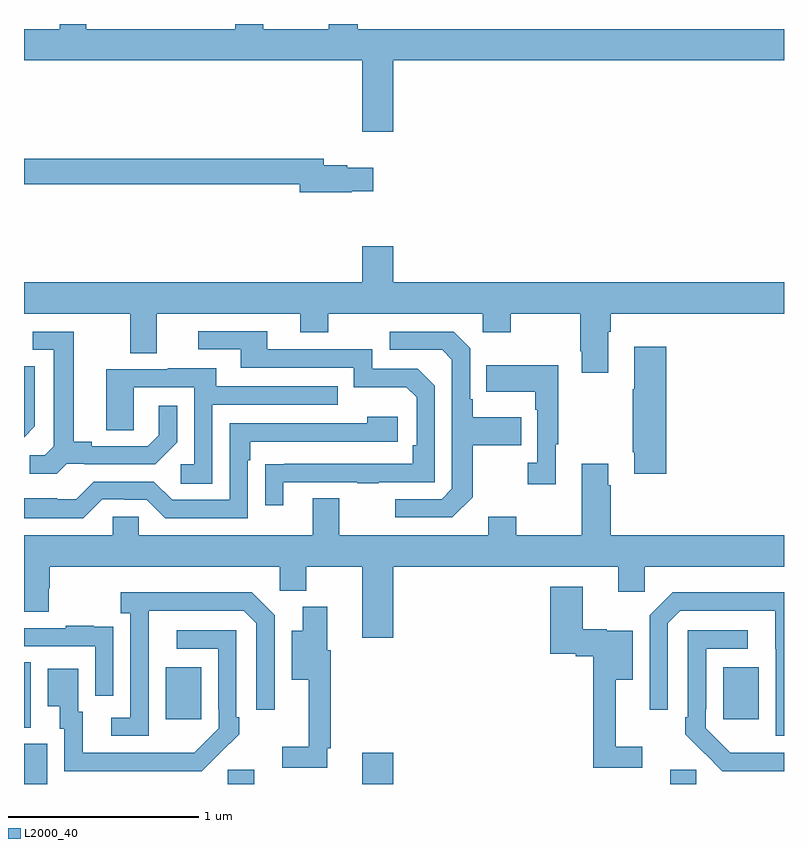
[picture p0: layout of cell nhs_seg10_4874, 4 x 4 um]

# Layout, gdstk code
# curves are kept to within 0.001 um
import gdstk
lib = gdstk.Library(unit=1e-6, precision=1e-09)
def R(c, l, rs):  # rectangles x0, y0, x1, y1
    for r in rs: c.add(gdstk.rectangle(r[:2], r[2:], *l))
def P(c, l, *ps):  # polygons
    for p in ps: c.add(gdstk.Polygon(p, *l))
L2000_40 = (2000, 40)

nhs_seg10_4874 = lib.new_cell('nhs_seg10_4874')
R(nhs_seg10_4874, L2000_40, [(391,1304.5,391.123,1304.712), (392.073,1304.5,392.212,1304.574), (392.78,1304.5,392.944,1304.665), (394.4,1304.5,394.539,1304.574), (391,1304.797,391.036,1305.14), (391.745,1304.841,391.933,1305.115), (394.679,1304.841,394.867,1305.115)])
P(nhs_seg10_4874, L2000_40, [(392.944,1308.308),(395,1308.308),(395,1308.472),(392.756,1308.472),(392.756,1308.5),(392.603,1308.5),(392.603,1308.472),(392.259,1308.472),(392.259,1308.5),(392.111,1308.5),(392.111,1308.472),(391.327,1308.472),(391.327,1308.5),(391.187,1308.5),(391.187,1308.472),(391,1308.472),(391,1308.308),(392.78,1308.308),(392.78,1307.934),(392.944,1307.934)],
  [(392.726,1307.621),(392.839,1307.621),(392.839,1307.743),(392.7,1307.743),(392.7,1307.756),(392.578,1307.756),(392.578,1307.792),(391,1307.792),(391,1307.656),(392.45,1307.656),(392.45,1307.614),(392.726,1307.614)],
  [(394.075,1306.88),(394.088,1306.88),(394.088,1306.976),(395,1306.976),(395,1307.14),(392.944,1307.14),(392.944,1307.329),(392.78,1307.329),(392.78,1307.14),(391,1307.14),(391,1306.976),(391.559,1306.976),(391.559,1306.768),(391.699,1306.768),(391.699,1306.976),(392.453,1306.976),(392.453,1306.877),(392.601,1306.877),(392.601,1306.976),(393.414,1306.976),(393.414,1306.877),(393.561,1306.877),(393.561,1306.976),(393.928,1306.976),(393.928,1306.777),(393.935,1306.777),(393.935,1306.665),(394.075,1306.665)],
  [(392.365,1306.089),(392.755,1306.089),(392.755,1306.084),(392.867,1306.084),(392.867,1306.089),(393.162,1306.089),(393.162,1306.596),(393.072,1306.686),(392.832,1306.686),(392.832,1306.788),(392.281,1306.788),(392.281,1306.884),(391.917,1306.884),(391.917,1306.788),(392.141,1306.788),(392.141,1306.692),(392.736,1306.692),(392.736,1306.589),(393.013,1306.589),(393.066,1306.536),(393.066,1306.282),(393.046,1306.282),(393.046,1306.185),(392.269,1306.184),(392.269,1305.966),(392.365,1305.966)],
  [(393.361,1306.009),(393.361,1306.282),(393.617,1306.282),(393.617,1306.429),(393.361,1306.429),(393.361,1306.525),(393.348,1306.525),(393.348,1306.794),(393.261,1306.881),(392.925,1306.881),(392.925,1306.785),(393.201,1306.785),(393.252,1306.734),(393.252,1306.053),(393.198,1305.999),(392.955,1305.999),(392.955,1305.903),(393.255,1305.903)],
  [(391.224,1306.185),(391.318,1306.185),(391.318,1306.182),(391.69,1306.182),(391.806,1306.298),(391.806,1306.492),(391.709,1306.492),(391.709,1306.335),(391.652,1306.278),(391.357,1306.278),(391.357,1306.301),(391.261,1306.301),(391.261,1306.881),(391.047,1306.881),(391.047,1306.785),(391.157,1306.785),(391.157,1306.277),(391.11,1306.23),(391.029,1306.23),(391.029,1306.133),(391.172,1306.133)],
  [(394.379,1306.801),(394.211,1306.801),(394.211,1306.577),(394.204,1306.577),(394.204,1306.246),(394.211,1306.246),(394.211,1306.134),(394.379,1306.134)],
  [(393.799,1306.289),(393.811,1306.289),(393.811,1306.705),(393.433,1306.705),(393.433,1306.565),(393.69,1306.565),(393.69,1306.469),(393.702,1306.469),(393.702,1306.19),(393.651,1306.19),(393.651,1306.077),(393.799,1306.077)],
  [(391.056,1306.382),(391.056,1306.7),(391,1306.7),(391,1306.326)],
  [(391.992,1306.497),(392.651,1306.497),(392.651,1306.593),(392.011,1306.593),(392.011,1306.687),(391.757,1306.687),(391.757,1306.683),(391.433,1306.683),(391.433,1306.363),(391.578,1306.363),(391.578,1306.587),(391.896,1306.587),(391.896,1306.182),(391.824,1306.182),(391.824,1306.081),(391.992,1306.081)],
  [(391.413,1305.999),(391.529,1305.999),(391.529,1305.996),(391.647,1305.996),(391.743,1305.9),(392.178,1305.9),(392.178,1306.205),(392.191,1306.205),(392.191,1306.302),(392.968,1306.302),(392.968,1306.432),(392.807,1306.432),(392.807,1306.398),(392.082,1306.398),(392.082,1305.996),(391.779,1305.996),(391.683,1306.092),(391.368,1306.092),(391.275,1305.999),(391.175,1305.999),(391.175,1306.003),(391,1306.003),(391,1305.899),(391.313,1305.899)],
  [(392.944,1305.644),(394.127,1305.644),(394.127,1305.513),(394.266,1305.513),(394.266,1305.644),(395,1305.644),(395,1305.808),(394.088,1305.808),(394.088,1306.073),(394.075,1306.073),(394.075,1306.186),(393.935,1306.186),(393.935,1305.808),(393.591,1305.808),(393.591,1305.907),(393.443,1305.907),(393.443,1305.808),(392.659,1305.808),(392.659,1306.003),(392.519,1306.003),(392.519,1305.808),(391.605,1305.808),(391.605,1305.906),(391.467,1305.906),(391.467,1305.808),(391,1305.808),(391,1305.406),(391.131,1305.406),(391.131,1305.531),(391.136,1305.531),(391.136,1305.644),(392.346,1305.644),(392.346,1305.518),(392.485,1305.518),(392.485,1305.644),(392.78,1305.644),(392.78,1305.27),(392.944,1305.27)],
  [(394.255,1304.695),(394.115,1304.695),(394.115,1305.05),(394.204,1305.05),(394.204,1305.307),(394.068,1305.307),(394.068,1305.315),(393.94,1305.315),(393.94,1305.538),(393.77,1305.538),(393.77,1305.185),(393.903,1305.185),(393.903,1305.173),(393.997,1305.173),(393.997,1304.586),(394.255,1304.586)],
  [(391.656,1305.211),(391.657,1305.411),(392.157,1305.411),(392.223,1305.345),(392.223,1304.892),(392.319,1304.892),(392.319,1305.387),(392.198,1305.508),(391.509,1305.508),(391.509,1305.398),(391.56,1305.398),(391.56,1304.85),(391.458,1304.85),(391.458,1304.754),(391.656,1304.754)],
  [(395,1305.508),(394.414,1305.508),(394.293,1305.387),(394.293,1304.892),(394.389,1304.892),(394.389,1305.345),(394.455,1305.411),(394.955,1305.411),(394.955,1305.211),(394.956,1305.211),(394.956,1304.754),(395,1304.754)],
  [(392.597,1304.689),(392.615,1304.689),(392.615,1305.203),(392.596,1305.203),(392.596,1305.433),(392.468,1305.433),(392.468,1305.307),(392.408,1305.307),(392.408,1305.05),(392.498,1305.05),(392.498,1304.695),(392.358,1304.695),(392.358,1304.586),(392.597,1304.586)],
  [(391.47,1305.218),(391.469,1305.218),(391.469,1305.327),(391.367,1305.327),(391.367,1305.334),(391.219,1305.334),(391.219,1305.321),(391,1305.321),(391,1305.225),(391.374,1305.225),(391.374,1304.964),(391.47,1304.964)],
  [(392.027,1304.659),(392.028,1304.658),(392.133,1304.763),(392.133,1304.851),(392.118,1304.851),(392.118,1305.309),(391.803,1305.309),(391.803,1305.213),(392.022,1305.213),(392.022,1304.893),(392.025,1304.893),(392.025,1304.793),(391.897,1304.665),(391.309,1304.664),(391.309,1304.88),(391.285,1304.88),(391.285,1305.106),(391.124,1305.106),(391.124,1304.909),(391.187,1304.909),(391.187,1304.79),(391.212,1304.79),(391.212,1304.568),(391.936,1304.568)],
  [(395,1304.664),(394.716,1304.665),(394.587,1304.793),(394.587,1304.893),(394.59,1304.893),(394.59,1305.213),(394.81,1305.213),(394.81,1305.309),(394.494,1305.309),(394.494,1304.851),(394.479,1304.851),(394.479,1304.763),(394.676,1304.568),(395,1304.568)])

lib.write_gds('nhs_seg10_4874.gds')
